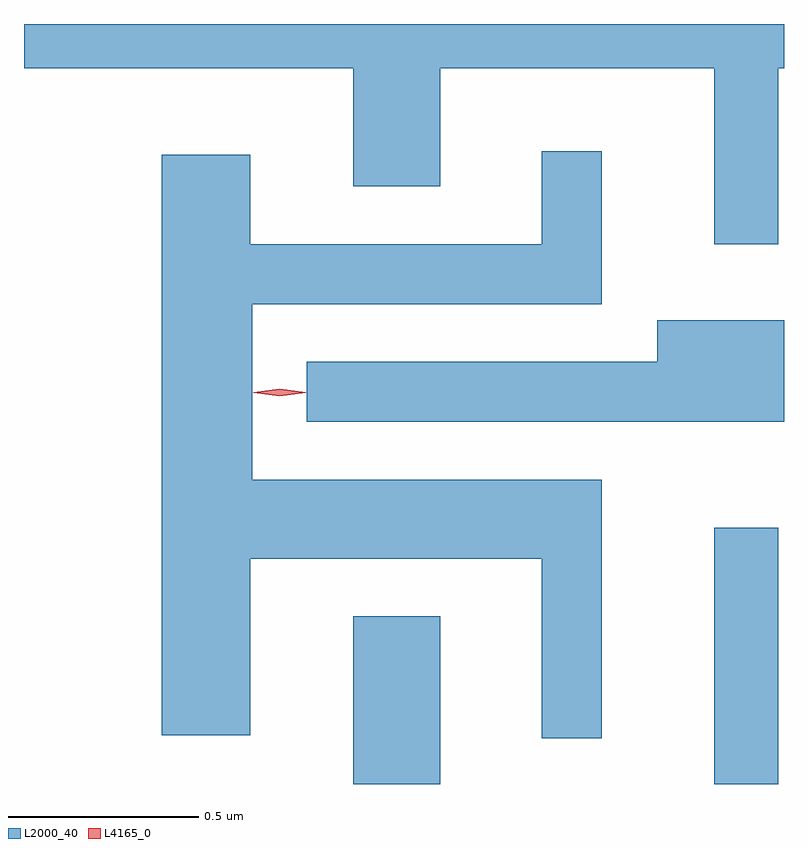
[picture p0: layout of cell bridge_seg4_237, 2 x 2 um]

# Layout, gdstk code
import gdstk
lib = gdstk.Library(unit=1e-6, precision=1e-09)
def R(c, l, rs):  # rectangles x0, y0, x1, y1
    for r in rs: c.add(gdstk.rectangle(r[:2], r[2:], *l))
def P(c, l, *ps):  # polygons
    for p in ps: c.add(gdstk.Polygon(p, *l))
L2000_40 = (2000, 40)
L4165_0 = (4165, 0)

bridge_seg4_237 = lib.new_cell('bridge_seg4_237')
R(bridge_seg4_237, L2000_40, [(583.211,1332.813,583.439,1333.254), (584.161,1332.813,584.329,1333.488)])
P(bridge_seg4_237, L2000_40, [(584.329,1334.696),(584.344,1334.696),(584.344,1334.813),(582.344,1334.813),(582.344,1334.696),(583.211,1334.696),(583.211,1334.386),(583.439,1334.386),(583.439,1334.696),(584.161,1334.696),(584.161,1334.233),(584.329,1334.233)],
  [(583.864,1333.614),(582.944,1333.614),(582.944,1334.076),(583.864,1334.076),(583.864,1334.478),(583.706,1334.478),(583.706,1334.234),(582.939,1334.234),(582.939,1334.469),(582.706,1334.469),(582.706,1332.941),(582.939,1332.941),(582.939,1333.406),(583.706,1333.406),(583.706,1332.933),(583.864,1332.933)],
  [(584.344,1334.034),(584.011,1334.034),(584.011,1333.924),(583.088,1333.924),(583.088,1333.766),(584.344,1333.766)])
P(bridge_seg4_237, L4165_0, [(583.017,1333.833),(582.948,1333.843),(582.947,1333.843),(582.948,1333.844),(583.017,1333.853),(583.086,1333.844),(583.086,1333.843),(583.086,1333.843)],
  [(583.017,1333.833),(582.951,1333.843),(582.95,1333.843),(582.951,1333.844),(583.017,1333.853),(583.082,1333.844),(583.083,1333.843),(583.082,1333.843)])

lib.write_gds('bridge_seg4_237.gds')
